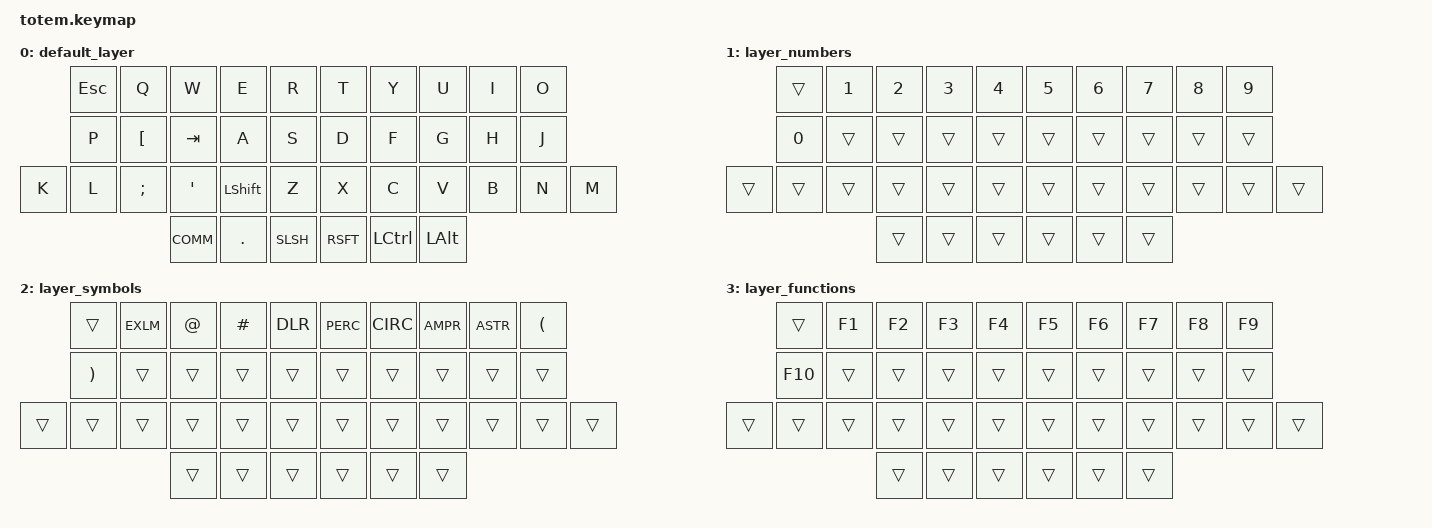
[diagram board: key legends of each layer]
/*
 * TOTEM Split Keyboard - ZMK Keymap Initial
 */

#include <behaviors.dtsi>
#include <dt-bindings/zmk/keys.h>

/ {
    combos {
        compatible = "zmk,combos";

        Number1 {
            bindings = <&kp NUMBER_1>;
            key-positions = <0 10>;
        };

        Number2 {
            bindings = <&kp NUMBER_2>;
            key-positions = <1 11>;
        };

        Number3 {
            bindings = <&kp NUMBER_3>;
            key-positions = <2 12>;
        };
    };

    keymap {
        compatible = "zmk,keymap";

        default_layer {
            bindings = <
       &kp ESC  &kp Q     &kp W     &kp E      &kp R       &kp T     &kp Y      &kp U     &kp I  &kp O
       &kp P    &kp LBKT  &kp TAB   &kp A      &kp S       &kp D     &kp F      &kp G     &kp H  &kp J
&kp K  &kp L    &kp SCLN  &kp QUOT  &kp LSHFT  &kp Z       &kp X     &kp C      &kp V     &kp B  &kp N  &kp M
                          &kp COMM  &kp DOT    &kp SLSH    &kp RSFT  &kp LCTRL  &kp LALT
            >;
        };

        layer_numbers {
            bindings = <
        &trans  &kp N1  &kp N2  &kp N3  &kp N4    &kp N5  &kp N6  &kp N7  &kp N8  &kp N9
        &kp N0  &trans  &trans  &trans  &trans    &trans  &trans  &trans  &trans  &trans
&trans  &trans  &trans  &trans  &trans  &trans    &trans  &trans  &trans  &trans  &trans  &trans
                        &trans  &trans  &trans    &trans  &trans  &trans
            >;
        };

        layer_symbols {
            bindings = <
        &trans    &kp EXLM  &kp AT  &kp HASH  &kp DLR    &kp PERC  &kp CIRC  &kp AMPR  &kp ASTR  &kp LPAR
        &kp RPAR  &trans    &trans  &trans    &trans     &trans    &trans    &trans    &trans    &trans
&trans  &trans    &trans    &trans  &trans    &trans     &trans    &trans    &trans    &trans    &trans    &trans
                            &trans  &trans    &trans     &trans    &trans    &trans
            >;
        };

        layer_functions {
            bindings = <
        &trans   &kp F1  &kp F2  &kp F3  &kp F4    &kp F5  &kp F6  &kp F7  &kp F8  &kp F9
        &kp F10  &trans  &trans  &trans  &trans    &trans  &trans  &trans  &trans  &trans
&trans  &trans   &trans  &trans  &trans  &trans    &trans  &trans  &trans  &trans  &trans  &trans
                         &trans  &trans  &trans    &trans  &trans  &trans
            >;
        };
    };
};
